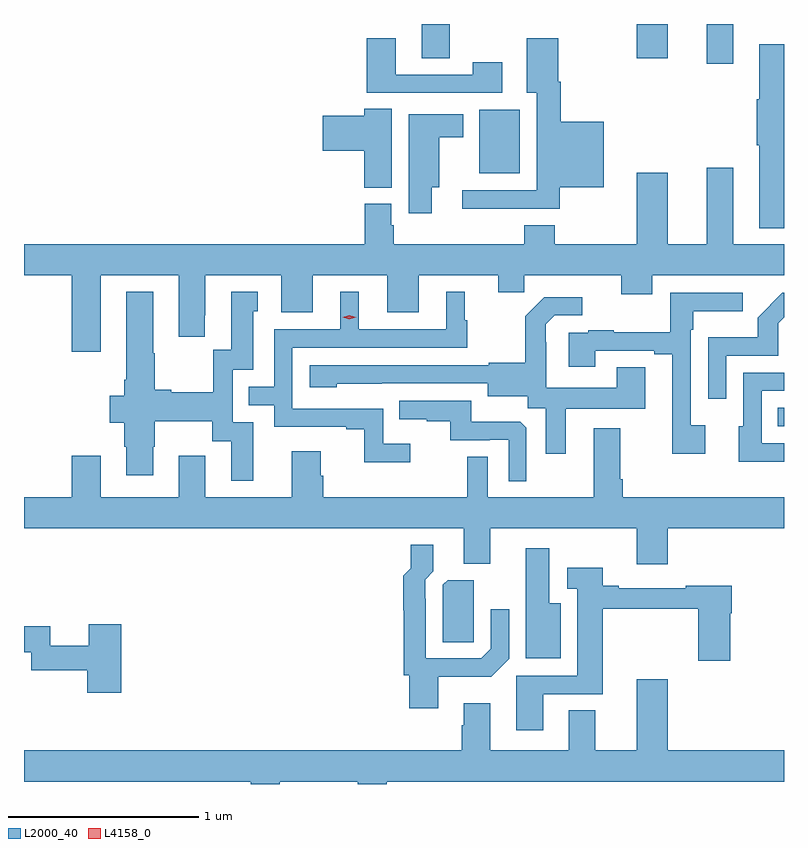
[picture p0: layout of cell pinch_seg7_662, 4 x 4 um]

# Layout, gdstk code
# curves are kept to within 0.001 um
import gdstk
lib = gdstk.Library(unit=1e-6, precision=1e-09)
def R(c, l, rs):  # rectangles x0, y0, x1, y1
    for r in rs: c.add(gdstk.rectangle(r[:2], r[2:], *l))
def P(c, l, *ps):  # polygons
    for p in ps: c.add(gdstk.Polygon(p, *l))
L2000_40 = (2000, 40)
L4158_0 = (4158, 0)

pinch_seg7_662 = lib.new_cell('pinch_seg7_662')
R(pinch_seg7_662, L2000_40, [(285.631,1030.458,285.664,1030.554), (284.06,1031.789,284.272,1032.124), (285.257,1032.366,285.397,1032.575), (283.757,1032.394,283.905,1032.575), (284.888,1032.396,285.052,1032.575)])
P(pinch_seg7_662, L2000_40, [(284.484,1031.717),(284.716,1031.717),(284.716,1032.061),(284.489,1032.061),(284.489,1032.272),(284.476,1032.272),(284.476,1032.499),(284.309,1032.499),(284.309,1032.212),(284.363,1032.212),(284.363,1031.7),(283.971,1031.7),(283.971,1031.603),(284.484,1031.603)],
  [(284.182,1032.373),(284.026,1032.373),(284.026,1032.309),(283.621,1032.309),(283.621,1032.499),(283.469,1032.499),(283.469,1032.213),(284.182,1032.213)],
  [(285.664,1032.469),(285.533,1032.469),(285.533,1032.18),(285.521,1032.18),(285.521,1031.936),(285.533,1031.936),(285.533,1031.501),(285.664,1031.501)],
  [(283.6,1032.128),(283.454,1032.128),(283.454,1032.092),(283.236,1032.092),(283.236,1031.909),(283.454,1031.909),(283.454,1031.713),(283.6,1031.713)],
  [(283.81,1031.717),(283.849,1031.717),(283.849,1031.978),(283.975,1031.978),(283.975,1032.1),(283.688,1032.1),(283.688,1031.58),(283.81,1031.58)],
  [(282.067,1031.252),(282.479,1031.252),(282.479,1030.929),(282.616,1030.929),(282.616,1031.041),(282.619,1031.041),(282.619,1031.252),(283.019,1031.252),(283.019,1031.058),(283.183,1031.058),(283.183,1031.252),(283.577,1031.252),(283.577,1031.058),(283.741,1031.058),(283.741,1031.252),(284.159,1031.252),(284.159,1031.162),(284.297,1031.162),(284.297,1031.252),(284.807,1031.252),(284.807,1031.153),(284.971,1031.153),(284.971,1031.252),(285.664,1031.252),(285.664,1031.416),(285.397,1031.416),(285.397,1031.818),(285.257,1031.818),(285.257,1031.416),(285.052,1031.416),(285.052,1031.791),(284.888,1031.791),(284.888,1031.416),(284.457,1031.416),(284.457,1031.515),(284.297,1031.515),(284.297,1031.416),(283.61,1031.416),(283.61,1031.517),(283.597,1031.517),(283.597,1031.628),(283.457,1031.628),(283.457,1031.416),(281.664,1031.416),(281.664,1031.252),(281.915,1031.252),(281.915,1030.851),(282.067,1030.851)],
  [(282.871,1030.479),(282.762,1030.479),(282.762,1030.755),(282.871,1030.755),(282.871,1031.064),(282.895,1031.064),(282.895,1031.167),(282.755,1031.167),(282.755,1030.86),(282.659,1030.86),(282.659,1030.636),(282.439,1030.636),(282.439,1030.649),(282.351,1030.649),(282.351,1030.841),(282.343,1030.841),(282.343,1031.167),(282.203,1031.167),(282.203,1030.702),(282.191,1030.702),(282.191,1030.619),(282.116,1030.619),(282.116,1030.477),(282.191,1030.477),(282.191,1030.35),(282.203,1030.35),(282.203,1030.2),(282.343,1030.2),(282.343,1030.35),(282.351,1030.35),(282.351,1030.484),(282.654,1030.484),(282.654,1030.378),(282.755,1030.378),(282.755,1030.17),(282.871,1030.17)],
  [(283.696,1030.366),(283.554,1030.366),(283.554,1030.551),(283.077,1030.551),(283.077,1030.872),(283.996,1030.872),(283.996,1031.016),(283.984,1031.016),(283.984,1031.167),(283.886,1031.167),(283.886,1030.968),(283.426,1030.968),(283.426,1031.167),(283.328,1031.167),(283.328,1030.968),(282.981,1030.968),(282.981,1030.665),(282.847,1030.665),(282.847,1030.569),(282.981,1030.569),(282.981,1030.455),(283.361,1030.455),(283.361,1030.443),(283.456,1030.443),(283.456,1030.268),(283.696,1030.268)],
  [(285.25,1030.462),(285.174,1030.462),(285.174,1030.967),(285.187,1030.967),(285.187,1031.063),(285.448,1031.063),(285.448,1031.16),(285.066,1031.16),(285.066,1030.952),(284.767,1030.952),(284.767,1030.963),(284.635,1030.963),(284.635,1030.95),(284.531,1030.95),(284.531,1030.77),(284.671,1030.77),(284.671,1030.854),(284.981,1030.854),(284.981,1030.836),(285.077,1030.836),(285.077,1030.314),(285.25,1030.314)],
  [(285.36,1030.83),(285.633,1030.83),(285.633,1031.001),(285.664,1031.032),(285.664,1031.16),(285.656,1031.16),(285.526,1031.03),(285.526,1030.927),(285.264,1030.927),(285.264,1030.602),(285.36,1030.602)],
  [(284.515,1030.55),(284.935,1030.55),(284.935,1030.769),(284.783,1030.769),(284.783,1030.66),(284.412,1030.66),(284.412,1030.901),(284.41,1030.901),(284.41,1030.996),(284.457,1031.043),(284.602,1031.043),(284.602,1031.137),(284.401,1031.137),(284.301,1031.037),(284.301,1030.792),(284.109,1030.792),(284.109,1030.779),(283.167,1030.779),(283.167,1030.664),(283.311,1030.664),(283.311,1030.682),(284.105,1030.683),(284.105,1030.616),(284.316,1030.616),(284.316,1030.552),(284.411,1030.552),(284.411,1030.314),(284.515,1030.314)],
  [(285.643,1030.272),(285.664,1030.272),(285.664,1030.368),(285.546,1030.368),(285.546,1030.644),(285.664,1030.644),(285.664,1030.74),(285.45,1030.74),(285.45,1030.458),(285.425,1030.458),(285.425,1030.271),(285.643,1030.271)],
  [(284.307,1030.449),(284.275,1030.481),(284.017,1030.481),(284.017,1030.593),(283.639,1030.593),(283.639,1030.496),(283.783,1030.496),(283.783,1030.485),(283.907,1030.485),(283.907,1030.383),(284.114,1030.383),(284.114,1030.386),(284.214,1030.386),(284.214,1030.169),(284.307,1030.169)],
  [(283.073,1030.327),(283.073,1030.084),(282.619,1030.084),(282.619,1030.303),(282.479,1030.303),(282.479,1030.084),(282.067,1030.084),(282.067,1030.303),(281.915,1030.303),(281.915,1030.084),(281.664,1030.084),(281.664,1029.92),(283.979,1029.92),(283.979,1029.733),(284.119,1029.733),(284.119,1029.92),(284.888,1029.92),(284.888,1029.732),(285.052,1029.732),(285.052,1029.92),(285.664,1029.92),(285.664,1030.084),(284.816,1030.084),(284.816,1030.18),(284.803,1030.18),(284.803,1030.447),(284.663,1030.447),(284.663,1030.084),(284.106,1030.084),(284.106,1030.298),(283.998,1030.298),(283.998,1030.084),(283.238,1030.084),(283.238,1030.197),(283.225,1030.197),(283.225,1030.327)],
  [(283.843,1029.14),(284.123,1029.14),(284.217,1029.234),(284.217,1029.496),(284.121,1029.496),(284.121,1029.288),(284.07,1029.237),(283.779,1029.237),(283.779,1029.551),(283.776,1029.551),(283.776,1029.651),(283.819,1029.694),(283.819,1029.835),(283.699,1029.835),(283.699,1029.711),(283.661,1029.672),(283.661,1029.49),(283.663,1029.49),(283.663,1029.147),(283.691,1029.147),(283.691,1028.973),(283.843,1028.973)],
  [(284.488,1029.526),(284.428,1029.526),(284.428,1029.817),(284.306,1029.817),(284.306,1029.236),(284.488,1029.236)],
  [(284.398,1029.048),(284.711,1029.048),(284.711,1029.498),(285.212,1029.498),(285.212,1029.225),(285.382,1029.225),(285.382,1029.473),(285.39,1029.473),(285.39,1029.619),(285.148,1029.619),(285.148,1029.606),(284.794,1029.606),(284.794,1029.619),(284.711,1029.619),(284.711,1029.713),(284.523,1029.713),(284.523,1029.603),(284.576,1029.603),(284.576,1029.144),(284.255,1029.144),(284.255,1028.859),(284.398,1028.859)],
  [(284.031,1029.433),(284.032,1029.433),(284.032,1029.648),(283.893,1029.648),(283.869,1029.624),(283.869,1029.322),(284.031,1029.322)],
  [(282.176,1029.415),(282.005,1029.415),(282.005,1029.302),(281.801,1029.302),(281.801,1029.404),(281.664,1029.404),(281.664,1029.268),(281.703,1029.268),(281.703,1029.174),(281.998,1029.174),(281.998,1029.054),(282.176,1029.054)],
  [(283.009,1028.588),(283.421,1028.588),(283.421,1028.575),(283.574,1028.575),(283.574,1028.588),(285.664,1028.588),(285.664,1028.752),(285.052,1028.752),(285.052,1029.127),(284.888,1029.127),(284.888,1028.752),(284.671,1028.752),(284.671,1028.963),(284.531,1028.963),(284.531,1028.752),(284.119,1028.752),(284.119,1029.001),(283.979,1029.001),(283.979,1028.885),(283.967,1028.885),(283.967,1028.752),(281.664,1028.752),(281.664,1028.588),(282.857,1028.588),(282.857,1028.575),(283.009,1028.575)])
P(pinch_seg7_662, L4158_0, [(283.377,1031.022),(283.341,1031.031),(283.341,1031.032),(283.341,1031.032),(283.377,1031.042),(283.413,1031.032),(283.413,1031.032),(283.413,1031.031)])

lib.write_gds('pinch_seg7_662.gds')
